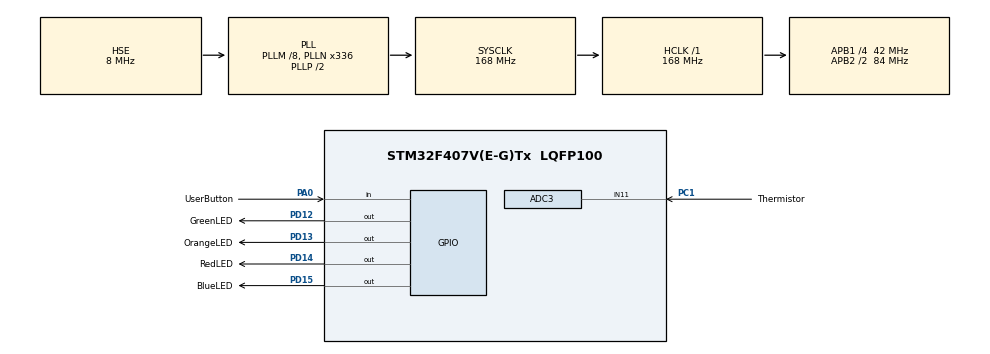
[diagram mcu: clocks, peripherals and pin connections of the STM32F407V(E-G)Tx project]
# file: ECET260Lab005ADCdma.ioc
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ADC1.Channel-0\#ChannelRegularConversion=ADC_CHANNEL_TEMPSENSOR
ADC1.ContinuousConvMode=ENABLE
ADC1.DMAContinuousRequests=ENABLE
ADC1.NbrOfConversionFlag=1
ADC1.Rank-0\#ChannelRegularConversion=1
ADC1.SamplingTime-0\#ChannelRegularConversion=ADC_SAMPLETIME_84CYCLES
ADC1.master=1
ADC3.Channel-2\#ChannelRegularConversion=ADC_CHANNEL_11
ADC3.ContinuousConvMode=ENABLE
ADC3.DMAContinuousRequests=ENABLE
ADC3.NbrOfConversionFlag=1
ADC3.Rank-2\#ChannelRegularConversion=1
ADC3.SamplingTime-2\#ChannelRegularConversion=ADC_SAMPLETIME_84CYCLES
Dma.ADC1.0.Direction=DMA_PERIPH_TO_MEMORY
Dma.ADC1.0.FIFOMode=DMA_FIFOMODE_DISABLE
Dma.ADC1.0.Instance=DMA2_Stream4
Dma.ADC1.0.MemDataAlignment=DMA_MDATAALIGN_WORD
Dma.ADC1.0.MemInc=DMA_MINC_ENABLE
Dma.ADC1.0.Mode=DMA_CIRCULAR
Dma.ADC1.0.PeriphDataAlignment=DMA_PDATAALIGN_WORD
Dma.ADC1.0.PeriphInc=DMA_PINC_DISABLE
Dma.ADC1.0.Priority=DMA_PRIORITY_LOW
Dma.ADC3.1.Direction=DMA_PERIPH_TO_MEMORY
Dma.ADC3.1.FIFOMode=DMA_FIFOMODE_DISABLE
Dma.ADC3.1.Instance=DMA2_Stream0
Dma.ADC3.1.MemDataAlignment=DMA_MDATAALIGN_WORD
Dma.ADC3.1.MemInc=DMA_MINC_ENABLE
Dma.ADC3.1.Mode=DMA_CIRCULAR
Dma.ADC3.1.PeriphDataAlignment=DMA_PDATAALIGN_WORD
Dma.ADC3.1.PeriphInc=DMA_PINC_DISABLE
Dma.ADC3.1.Priority=DMA_PRIORITY_LOW
Dma.Request0=ADC1
Dma.Request1=ADC3
Mcu.Family=STM32F4
Mcu.Name=STM32F407V(E-G)Tx
Mcu.Package=LQFP100
NVIC.ADC_IRQn=true\:0\:0\:false\:false\:true\:true\:true
NVIC.DMA2_Stream0_IRQn=true\:0\:0\:false\:false\:true\:false\:true
NVIC.DMA2_Stream4_IRQn=true\:0\:0\:false\:false\:true\:false\:true
NVIC.PriorityGroup=NVIC_PRIORITYGROUP_4
PA0-WKUP.GPIO_Label=UserButton
PA0-WKUP.Signal=GPIO_Input
PA13.Mode=Trace_Asynchronous_SW
PA13.Signal=SYS_JTMS-SWDIO
PA14.Mode=Trace_Asynchronous_SW
PA14.Signal=SYS_JTCK-SWCLK
PB3.Mode=Trace_Asynchronous_SW
PB3.Signal=SYS_JTDO-SWO
PC1.GPIO_Label=Thermistor
PC1.Signal=ADCx_IN11
PD12.GPIO_Label=GreenLED
PD12.Signal=GPIO_Output
PD13.GPIO_Label=OrangeLED
PD13.Signal=GPIO_Output
PD14.GPIO_Label=RedLED
PD14.Signal=GPIO_Output
PD15.GPIO_Label=BlueLED
PD15.Signal=GPIO_Output
PH0-OSC_IN.Mode=HSE-External-Oscillator
PH0-OSC_IN.Signal=RCC_OSC_IN
PH1-OSC_OUT.Mode=HSE-External-Oscillator
PH1-OSC_OUT.Signal=RCC_OSC_OUT
ProjectManager.HeapSize=0x200
ProjectManager.StackSize=0x400
ProjectManager.TargetToolchain=STM32CubeIDE
RCC.48MHZClocksFreq_Value=48000000
RCC.AHBFreq_Value=168000000
RCC.APB1CLKDivider=RCC_HCLK_DIV4
RCC.APB1Freq_Value=42000000
RCC.APB1TimFreq_Value=84000000
RCC.APB2CLKDivider=RCC_HCLK_DIV2
RCC.APB2Freq_Value=84000000
RCC.APB2TimFreq_Value=168000000
RCC.CortexFreq_Value=168000000
RCC.HCLKFreq_Value=168000000
RCC.HSE_VALUE=8000000
RCC.HSI_VALUE=16000000
RCC.LSE_VALUE=32768
RCC.PLLM=8
RCC.PLLN=336
RCC.PLLQ=7
RCC.PLLSourceVirtual=RCC_PLLSOURCE_HSE
RCC.SYSCLKFreq_VALUE=168000000
RCC.SYSCLKSource=RCC_SYSCLKSOURCE_PLLCLK
RCC.VCOOutputFreq_Value=336000000
SH.ADCx_IN11.0=ADC3_IN11,IN11
VP_ADC1_TempSens_Input.Mode=IN-TempSens
VP_RNG_VS_RNG.Mode=RNG_Activate
board=custom

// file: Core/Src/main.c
/* USER CODE BEGIN Header */
/**
  ******************************************************************************
  * @ADCdma           		    : main.c
  * @ECET260Lab005ADCdma          : Main program body
  ******************************************************************************
  * Code By: Benjamin B Jackson, C0427524
  * configure ADC3 to continuously read the thermistor using an interrupt.
  * ADC1 Reads internal die temp sensor using interupt
  * Continuously read these values into arrays or 100 samples and average them
  * Blink an orange LED 1/0.5s
  *
  *
  *______________Edits______________
  *
  * -16/12/2020- Start Lab
  * -16/12/2020- finish lab; debug
  ******************************************************************************
  */
/* USER CODE END Header */
#include "main.h"

/* USER CODE BEGIN Includes */
#include <stdio.h>
#include <math.h>

/* USER CODE END Includes */

ADC_HandleTypeDef hadc1;
ADC_HandleTypeDef hadc3;
DMA_HandleTypeDef hdma_adc1;
DMA_HandleTypeDef hdma_adc3;

RNG_HandleTypeDef hrng;

/* USER CODE BEGIN PV */

//uint32_t thermArray[100];

int thermValue = 0;						// Accepts int temp value from input ADC
float intDieTempValue = 0; 				// Float Value to hold internal temp sensor value

float Temperature = 0;						// Float value to hold actual readable temperature
float internalDieTempC = 0;

uint32_t thermArray[100];
uint32_t dieArray[100];

/* USER CODE END PV */

void SystemClock_Config(void);
static void MX_GPIO_Init(void);
static void MX_DMA_Init(void);
static void MX_RNG_Init(void);
static void MX_ADC1_Init(void);
static void MX_ADC3_Init(void);
/* USER CODE BEGIN PFP */

int __io_putchar(int ch);
float approximateTemperatureFloat(unsigned int analogReadValue);

/* USER CODE END PFP */

/* USER CODE BEGIN 0 */

//unsigned int thermValue = 0;
//float Temperature = 0;

/* USER CODE END 0 */

int main(void)
{

  /* MCU Configuration--------------------------------------------------------*/

  /* Reset of all peripherals, Initializes the Flash interface and the Systick. */
  HAL_Init();

  /* Configure the system clock */
  SystemClock_Config();

  /* Initialize all configured peripherals */
  MX_GPIO_Init();
  MX_DMA_Init();
  MX_RNG_Init();
  MX_ADC1_Init();
  MX_ADC3_Init();
  /* USER CODE BEGIN 2 */
  HAL_ADC_Start_DMA(&hadc3, thermArray, 100);		// iniit dma
  HAL_ADC_Start_DMA(&hadc1, dieArray, 100);
// HAL_ADC_Start_DMA(hadc, pData, Length)();
  /* USER CODE END 2 */

  /* Infinite loop */
  /* USER CODE BEGIN WHILE */
  while (1)
  {
	  thermValue = 0;

	  for(int i = 0;i < 100;i++)
	  {
		  thermValue += thermArray[i];
	  }

	  thermValue/=100;

	  intDieTempValue = 0;

	  for(int i = 0;i < 100;i++)
	  {
		  intDieTempValue += dieArray[i];
	  }

	  intDieTempValue/=100;

//	  HAL_ADC_Start_IT(&hadc1);					// Initialize die
//	  HAL_ADC_Start_IT(&hadc3);					//  	"	  thermistor

	  HAL_GPIO_WritePin(OrangeLED_GPIO_Port, OrangeLED_Pin, GPIO_PIN_SET);	// Repeat above for OrangeLED
	  HAL_Delay(500);
	  HAL_GPIO_WritePin(OrangeLED_GPIO_Port, OrangeLED_Pin, GPIO_PIN_RESET);// toggle light
	  HAL_Delay(500);

	  Temperature  = approximateTemperatureFloat(thermValue); // Convert int to a readable float, could nest previous line into this
	  internalDieTempC = (intDieTempValue/4095.0*3.05 - 0.76) /0.0025 + 25;	// turn float temp value into an actual temp from datasheet page 413

	  printf("Current temp outside is: %0.1f degC ADC Value is: %i Current internal die temp is: %0.1f degC ADC Value is: %0.1f \r\n", Temperature, thermValue, internalDieTempC, intDieTempValue);
    /* USER CODE END WHILE */

    /* USER CODE BEGIN 3 */

 	} // End Main While
  /* USER CODE END 3 */
}

void SystemClock_Config(void)
{
  RCC_OscInitTypeDef RCC_OscInitStruct = {0};
  RCC_ClkInitTypeDef RCC_ClkInitStruct = {0};

  /** Configure the main internal regulator output voltage
  */
  __HAL_RCC_PWR_CLK_ENABLE();
  __HAL_PWR_VOLTAGESCALING_CONFIG(PWR_REGULATOR_VOLTAGE_SCALE1);
  /** Initializes the RCC Oscillators according to the specified parameters
  * in the RCC_OscInitTypeDef structure.
  */
  RCC_OscInitStruct.OscillatorType = RCC_OSCILLATORTYPE_HSE;
  RCC_OscInitStruct.HSEState = RCC_HSE_ON;
  RCC_OscInitStruct.PLL.PLLState = RCC_PLL_ON;
  RCC_OscInitStruct.PLL.PLLSource = RCC_PLLSOURCE_HSE;
  RCC_OscInitStruct.PLL.PLLM = 8;
  RCC_OscInitStruct.PLL.PLLN = 336;
  RCC_OscInitStruct.PLL.PLLP = RCC_PLLP_DIV2;
  RCC_OscInitStruct.PLL.PLLQ = 7;
  if (HAL_RCC_OscConfig(&RCC_OscInitStruct) != HAL_OK)
  {
    Error_Handler();
  }
  /** Initializes the CPU, AHB and APB buses clocks
  */
  RCC_ClkInitStruct.ClockType = RCC_CLOCKTYPE_HCLK|RCC_CLOCKTYPE_SYSCLK
                              |RCC_CLOCKTYPE_PCLK1|RCC_CLOCKTYPE_PCLK2;
  RCC_ClkInitStruct.SYSCLKSource = RCC_SYSCLKSOURCE_PLLCLK;
  RCC_ClkInitStruct.AHBCLKDivider = RCC_SYSCLK_DIV1;
  RCC_ClkInitStruct.APB1CLKDivider = RCC_HCLK_DIV4;
  RCC_ClkInitStruct.APB2CLKDivider = RCC_HCLK_DIV2;

  if (HAL_RCC_ClockConfig(&RCC_ClkInitStruct, FLASH_LATENCY_5) != HAL_OK)
  {
    Error_Handler();
  }
}

static void MX_ADC1_Init(void)
{

  ADC_ChannelConfTypeDef sConfig = {0};

  /** Configure the global features of the ADC (Clock, Resolution, Data Alignment and number of conversion)
  */
  hadc1.Instance = ADC1;
  hadc1.Init.ClockPrescaler = ADC_CLOCK_SYNC_PCLK_DIV4;
  hadc1.Init.Resolution = ADC_RESOLUTION_12B;
  hadc1.Init.ScanConvMode = DISABLE;
  hadc1.Init.ContinuousConvMode = ENABLE;
  hadc1.Init.DiscontinuousConvMode = DISABLE;
  hadc1.Init.ExternalTrigConvEdge = ADC_EXTERNALTRIGCONVEDGE_NONE;
  hadc1.Init.ExternalTrigConv = ADC_SOFTWARE_START;
  hadc1.Init.DataAlign = ADC_DATAALIGN_RIGHT;
  hadc1.Init.NbrOfConversion = 1;
  hadc1.Init.DMAContinuousRequests = ENABLE;
  hadc1.Init.EOCSelection = ADC_EOC_SINGLE_CONV;
  if (HAL_ADC_Init(&hadc1) != HAL_OK)
  {
    Error_Handler();
  }
  /** Configure for the selected ADC regular channel its corresponding rank in the sequencer and its sample time.
  */
  sConfig.Channel = ADC_CHANNEL_TEMPSENSOR;
  sConfig.Rank = 1;
  sConfig.SamplingTime = ADC_SAMPLETIME_84CYCLES;
  if (HAL_ADC_ConfigChannel(&hadc1, &sConfig) != HAL_OK)
  {
    Error_Handler();
  }

}

static void MX_ADC3_Init(void)
{

  ADC_ChannelConfTypeDef sConfig = {0};

  /** Configure the global features of the ADC (Clock, Resolution, Data Alignment and number of conversion)
  */
  hadc3.Instance = ADC3;
  hadc3.Init.ClockPrescaler = ADC_CLOCK_SYNC_PCLK_DIV4;
  hadc3.Init.Resolution = ADC_RESOLUTION_12B;
  hadc3.Init.ScanConvMode = DISABLE;
  hadc3.Init.ContinuousConvMode = ENABLE;
  hadc3.Init.DiscontinuousConvMode = DISABLE;
  hadc3.Init.ExternalTrigConvEdge = ADC_EXTERNALTRIGCONVEDGE_NONE;
  hadc3.Init.ExternalTrigConv = ADC_SOFTWARE_START;
  hadc3.Init.DataAlign = ADC_DATAALIGN_RIGHT;
  hadc3.Init.NbrOfConversion = 1;
  hadc3.Init.DMAContinuousRequests = ENABLE;
  hadc3.Init.EOCSelection = ADC_EOC_SINGLE_CONV;
  if (HAL_ADC_Init(&hadc3) != HAL_OK)
  {
    Error_Handler();
  }
  /** Configure for the selected ADC regular channel its corresponding rank in the sequencer and its sample time.
  */
  sConfig.Channel = ADC_CHANNEL_11;
  sConfig.Rank = 1;
  sConfig.SamplingTime = ADC_SAMPLETIME_84CYCLES;
  if (HAL_ADC_ConfigChannel(&hadc3, &sConfig) != HAL_OK)
  {
    Error_Handler();
  }

}

static void MX_RNG_Init(void)
{

  hrng.Instance = RNG;
  if (HAL_RNG_Init(&hrng) != HAL_OK)
  {
    Error_Handler();
  }

}

static void MX_DMA_Init(void)
{

  /* DMA controller clock enable */
  __HAL_RCC_DMA2_CLK_ENABLE();

  /* DMA interrupt init */
  /* DMA2_Stream0_IRQn interrupt configuration */
  HAL_NVIC_SetPriority(DMA2_Stream0_IRQn, 0, 0);
  HAL_NVIC_EnableIRQ(DMA2_Stream0_IRQn);
  /* DMA2_Stream4_IRQn interrupt configuration */
  HAL_NVIC_SetPriority(DMA2_Stream4_IRQn, 0, 0);
  HAL_NVIC_EnableIRQ(DMA2_Stream4_IRQn);

}

static void MX_GPIO_Init(void)
{
  GPIO_InitTypeDef GPIO_InitStruct = {0};

  /* GPIO Ports Clock Enable */
  __HAL_RCC_GPIOH_CLK_ENABLE();
  __HAL_RCC_GPIOC_CLK_ENABLE();
  __HAL_RCC_GPIOA_CLK_ENABLE();
  __HAL_RCC_GPIOD_CLK_ENABLE();
  __HAL_RCC_GPIOB_CLK_ENABLE();

  /*Configure GPIO pin Output Level */
  HAL_GPIO_WritePin(GPIOD, GreenLED_Pin|OrangeLED_Pin|RedLED_Pin|BlueLED_Pin, GPIO_PIN_RESET);

  /*Configure GPIO pin : UserButton_Pin */
  GPIO_InitStruct.Pin = UserButton_Pin;
  GPIO_InitStruct.Mode = GPIO_MODE_INPUT;
  GPIO_InitStruct.Pull = GPIO_NOPULL;
  HAL_GPIO_Init(UserButton_GPIO_Port, &GPIO_InitStruct);

  /*Configure GPIO pins : GreenLED_Pin OrangeLED_Pin RedLED_Pin BlueLED_Pin */
  GPIO_InitStruct.Pin = GreenLED_Pin|OrangeLED_Pin|RedLED_Pin|BlueLED_Pin;
  GPIO_InitStruct.Mode = GPIO_MODE_OUTPUT_PP;
  GPIO_InitStruct.Pull = GPIO_NOPULL;
  GPIO_InitStruct.Speed = GPIO_SPEED_FREQ_LOW;
  HAL_GPIO_Init(GPIOD, &GPIO_InitStruct);

}

/* USER CODE BEGIN 4 */
int __io_putchar(int ch)
{
	ITM_SendChar(ch);
	return 0;
}

void HAL_ADC_ConvCpltCallback(ADC_HandleTypeDef* hadc)		// Wil get here if had adc1 or 3 has fired bc conversion is complete
{
	// Values come back
	thermValue = HAL_ADC_GetValue(&hadc3);			// Hal ADC GETVALUE (&hadc3) for thermistor
	intDieTempValue = HAL_ADC_GetValue(&hadc1);		// Hal ADC GETVALUE (&hadc1) for internal temp sensor

}
/** Approximate the temperature in °C from ADC (analogRead) value, using floating-point math.
 *
 *  This approximation uses floating point math, but much less complex so may be useful for
 *  improved performance, reducing program memory consumption, and reducing runtime memory
 *  usage.
 *
 *  This conversion has the following caveats...
 *    Suitable Range              : 1°C to 40°C
 *    Average Error (Within Range): +/- 1.523 °C°C
 *    Maximum Error (Within Range): 3.994 °C°
 *
 *  This approximation implements a linear regression of the Beta approximation
 *  for a thermistor having Beta of 3950, and nominal values of 100000Ω at
 *  25°C calculated for temperatures across the range above.
 *
 * @param   The result of an ADC conversion (analogRead) in the range 0 to 4095
 * @return  Temperature in °C (+/- 3.994 °C)
 */

float approximateTemperatureFloat(unsigned int analogReadValue)
{
	return ((-0.0732166185636231)*analogReadValue + 295.737217355);
}

/* USER CODE END 4 */

void Error_Handler(void)
{
}

/************************ (C) COPYRIGHT STMicroelectronics *****END OF FILE****/
